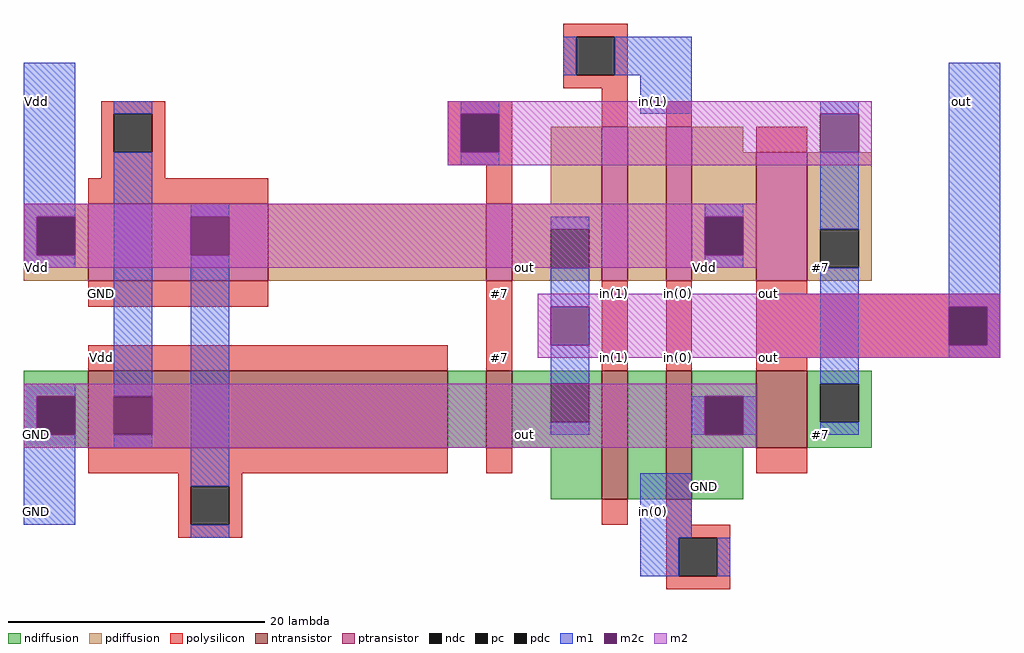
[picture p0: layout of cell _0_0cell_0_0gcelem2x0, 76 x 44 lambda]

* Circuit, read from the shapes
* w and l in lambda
.subckt _0_0cell_0_0gcelem2x0 #7 GND Vdd in(0) in(1) out
M1 n1 Vdd GND VSUBS nfet w=6 l=28
M2 out #7 n1 VSUBS nfet w=6 l=2
M3 n2 in(1) out VSUBS nfet w=10 l=2
M4 GND in(0) n2 VSUBS nfet w=10 l=2
M5 #7 out GND VSUBS nfet w=6 l=4
M6 n3 GND Vdd NWELL pfet w=6 l=14
M7 out #7 n3 NWELL pfet w=6 l=2
M8 n4 in(1) out NWELL pfet w=12 l=2
M9 Vdd in(0) n4 NWELL pfet w=12 l=2
M10 #7 out Vdd NWELL pfet w=10 l=4
.ends

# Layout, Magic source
magic
tech sky130l
<< ndiffusion >>
rect 8 14 13 16
rect 8 11 9 14
rect 12 11 13 14
rect 8 10 13 11
rect 41 10 44 16
rect 46 15 53 16
rect 46 12 49 15
rect 52 12 53 15
rect 46 10 53 12
rect 49 6 53 10
rect 55 6 58 16
rect 60 14 65 16
rect 60 11 61 14
rect 64 11 65 14
rect 60 10 65 11
rect 69 15 74 16
rect 69 12 70 15
rect 73 12 74 15
rect 69 10 74 12
rect 60 6 64 10
<< ndc >>
rect 9 11 12 14
rect 49 12 52 15
rect 61 11 64 14
rect 70 12 73 15
<< ntransistor >>
rect 13 10 41 16
rect 44 10 46 16
rect 53 6 55 16
rect 58 6 60 16
rect 65 10 69 16
<< pdiffusion >>
rect 49 29 53 35
rect 8 28 13 29
rect 8 25 9 28
rect 12 25 13 28
rect 8 23 13 25
rect 27 23 44 29
rect 46 27 53 29
rect 46 24 49 27
rect 52 24 53 27
rect 46 23 53 24
rect 55 23 58 35
rect 60 33 64 35
rect 60 28 65 33
rect 60 25 61 28
rect 64 25 65 28
rect 60 23 65 25
rect 69 27 74 33
rect 69 24 70 27
rect 73 24 74 27
rect 69 23 74 24
<< pdc >>
rect 9 25 12 28
rect 49 24 52 27
rect 61 25 64 28
rect 70 24 73 27
<< ptransistor >>
rect 13 23 27 29
rect 44 23 46 29
rect 53 23 55 35
rect 58 23 60 35
rect 65 23 69 33
<< polysilicon >>
rect 50 42 55 43
rect 50 39 51 42
rect 54 39 55 42
rect 50 38 55 39
rect 14 36 19 37
rect 14 33 15 36
rect 18 33 19 36
rect 14 31 19 33
rect 41 36 46 37
rect 41 33 42 36
rect 45 33 46 36
rect 53 35 55 38
rect 58 35 60 37
rect 41 32 46 33
rect 13 29 27 31
rect 44 29 46 32
rect 65 33 69 35
rect 13 21 27 23
rect 13 16 41 18
rect 44 16 46 23
rect 53 16 55 23
rect 58 16 60 23
rect 65 22 69 23
rect 65 21 84 22
rect 65 18 80 21
rect 83 18 84 21
rect 65 17 84 18
rect 65 16 69 17
rect 13 8 41 10
rect 44 8 46 10
rect 20 7 25 8
rect 20 4 21 7
rect 24 4 25 7
rect 65 8 69 10
rect 53 4 55 6
rect 58 4 60 6
rect 20 3 25 4
rect 58 3 63 4
rect 58 0 59 3
rect 62 0 63 3
rect 58 -1 63 0
<< pc >>
rect 51 39 54 42
rect 15 33 18 36
rect 42 33 45 36
rect 80 18 83 21
rect 21 4 24 7
rect 59 0 62 3
<< m1 >>
rect 8 28 12 40
rect 50 39 51 42
rect 54 39 60 42
rect 8 25 9 28
rect 8 24 12 25
rect 15 36 18 37
rect 8 14 12 15
rect 8 11 9 14
rect 8 4 12 11
rect 15 14 18 33
rect 42 36 45 37
rect 56 36 60 39
rect 70 36 73 37
rect 42 32 45 33
rect 15 10 18 11
rect 21 28 24 29
rect 61 28 64 29
rect 21 7 24 25
rect 49 27 52 28
rect 61 24 64 25
rect 70 27 73 33
rect 49 21 52 24
rect 49 15 52 18
rect 70 15 73 24
rect 80 21 84 40
rect 83 18 84 21
rect 80 17 84 18
rect 49 11 52 12
rect 60 11 61 14
rect 64 11 65 14
rect 70 11 73 12
rect 21 3 24 4
rect 56 3 60 8
rect 56 0 59 3
rect 62 0 63 3
<< m2c >>
rect 9 25 12 28
rect 9 11 12 14
rect 42 33 45 36
rect 70 33 73 36
rect 15 11 18 14
rect 21 25 24 28
rect 61 25 64 28
rect 49 18 52 21
rect 80 18 83 21
rect 61 11 64 14
<< m2 >>
rect 41 36 74 37
rect 41 33 42 36
rect 45 33 70 36
rect 73 33 74 36
rect 41 32 74 33
rect 8 28 65 29
rect 8 25 9 28
rect 12 25 21 28
rect 24 25 61 28
rect 64 25 65 28
rect 8 24 65 25
rect 48 21 84 22
rect 48 18 49 21
rect 52 18 80 21
rect 83 18 84 21
rect 48 17 84 18
rect 8 14 65 15
rect 8 11 9 14
rect 12 11 15 14
rect 18 11 61 14
rect 64 11 65 14
rect 8 10 65 11
<< labels >>
rlabel pdiffusion 70 24 70 24 3 #7
rlabel polysilicon 66 17 66 17 3 out
rlabel polysilicon 66 22 66 22 3 out
rlabel ndiffusion 70 11 70 11 3 #7
rlabel pdiffusion 61 24 61 24 3 Vdd
rlabel polysilicon 59 17 59 17 3 in(0)
rlabel polysilicon 59 22 59 22 3 in(0)
rlabel ndiffusion 61 7 61 7 3 GND
rlabel polysilicon 54 17 54 17 3 in(1)
rlabel polysilicon 54 22 54 22 3 in(1)
rlabel ndiffusion 47 11 47 11 3 out
rlabel pdiffusion 47 24 47 24 3 out
rlabel polysilicon 45 17 45 17 3 #7
rlabel polysilicon 45 22 45 22 3 #7
rlabel polysilicon 14 17 14 17 3 Vdd
rlabel polysilicon 14 22 14 22 3 GND
rlabel pdiffusion 9 24 9 24 3 Vdd
rlabel m1 81 37 81 37 3 out
rlabel m1 57 5 57 5 3 in(0)
rlabel m1 57 37 57 37 3 in(1)
rlabel m1 9 5 9 5 3 GND
rlabel m2 9 11 9 11 3 GND
rlabel m1 9 37 9 37 3 Vdd
rlabel m2 9 25 9 25 3 Vdd
<< end >>
